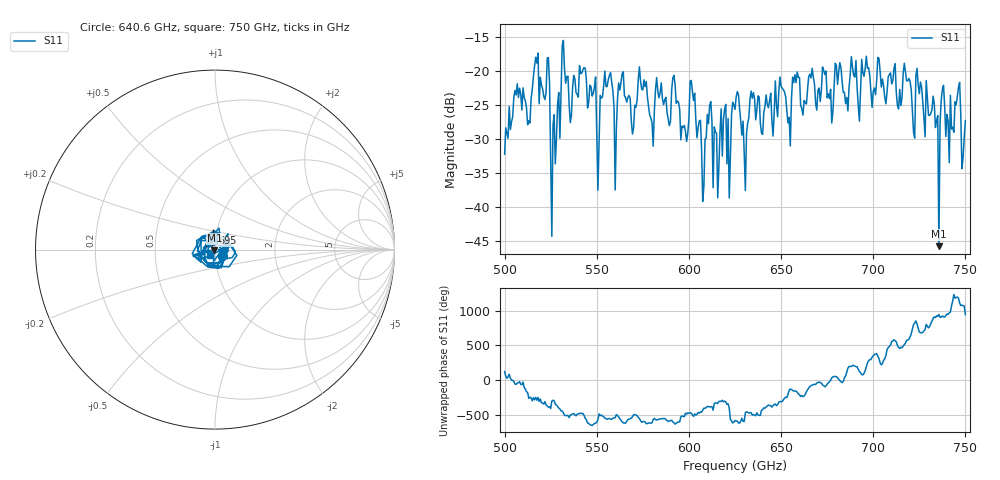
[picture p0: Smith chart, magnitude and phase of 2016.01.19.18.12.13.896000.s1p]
!Created with skrf (http://scikit-rf.org).
# GHz S RI R 50.0
!freq ReS11 ImS11
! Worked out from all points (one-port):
!   401 points, 500 GHz to 750 GHz, reference 50 ohm
!   lowest |S11| = -45.8 dB at 735.6 GHz (marker M1), VSWR 1.01, Z = 49.7 - j0.377 ohm
!   |S11| at or under -10 dB: start of sweep to end of sweep
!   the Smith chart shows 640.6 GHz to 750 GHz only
!   S11 on the Smith chart (normalised r, x): 640.6 GHz: 1.07, -0.07; 695 GHz: 0.96, +0.18; 750 GHz: 0.94, -0.06
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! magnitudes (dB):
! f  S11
! 500 GHz  -32.2
! 513.1 GHz  -27.3
! 516.9 GHz  -18.0
! 523.1 GHz  -18.1
! 526.2 GHz  -28.0
! 531.2 GHz  -16.3
! 543.1 GHz  -19.5
! 551.2 GHz  -30.3
! 553.1 GHz  -23.8
! 560 GHz  -37.5
! 562.5 GHz  -22.8
! 593.8 GHz  -24.4
! 598.1 GHz  -28.9
! 601.9 GHz  -23.0
! 608.1 GHz  -37.0
! 611.2 GHz  -25.0
! 621.9 GHz  -38.7
! 625 GHz  -25.7
! 630 GHz  -32.1
! 634.4 GHz  -24.0
! 640.6 GHz  -26.1
! 656.2 GHz  -20.9
! 687.5 GHz  -20.6
! 695 GHz  -20.8
! 718.8 GHz  -21.5
! 735.6 GHz  -45.8
! 745.6 GHz  -23.8
! 750 GHz  -27.3
